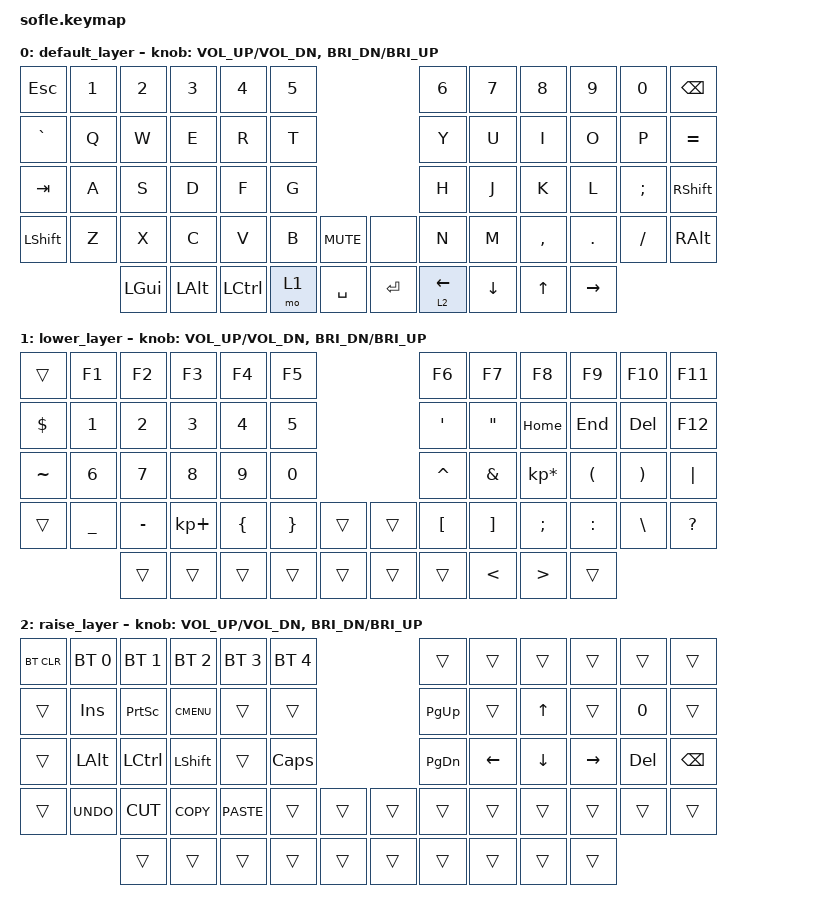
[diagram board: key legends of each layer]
/*
 * Copyright (c) 2020 The ZMK Contributors
 *
 * SPDX-License-Identifier: MIT
 */

#include <behaviors.dtsi>
#include <dt-bindings/zmk/keys.h>
#include <dt-bindings/zmk/bt.h>

&left_encoder { resolution = <2>; };
&right_encoder { resolution = <2>; };

&lt {
    tapping-term-ms = <300>;
};

/ {
    keymap {
        compatible = "zmk,keymap";

        default_layer {
// ------------------------------------------------------------------------------------------------------------
// |  ESC  |  1  |  2  |  3   |  4   |  5   |                   |  6   |  7    |  8    |  9   |   0   | BKSPC |
// |   `   |  Q  |  W  |  E   |  R   |  T   |                   |  Y   |  U    |  I    |  O   |   P   |   =   |
// |  TAB  |  A  |  S  |  D   |  F   |  G   |                   |  H   |  J    |  K    |  L   |   ;   | SHIFT |
// | SHIFT |  Z  |  X  |  C   |  V   |  B   |  MUTE  |  |       |  N   |  M    |  ,    |  .   |   /   |  ALT  |
//               | GUI | ALT  | CTRL | LOWER|  SPACE |  | ENTER |  <- / RAISE |   v   |   ^   |  ->  |
            bindings = <
&kp ESC   &kp N1 &kp N2   &kp N3   &kp N4    &kp N5                      &kp N6      &kp N7    &kp N8    &kp N9   &kp N0   &kp BSPC
&kp GRAVE &kp Q  &kp W    &kp E    &kp R     &kp T                       &kp Y       &kp U     &kp I     &kp O    &kp P    &kp EQUAL
&kp TAB   &kp A  &kp S    &kp D    &kp F     &kp G                       &kp H       &kp J     &kp K     &kp L    &kp SEMI &kp RSHFT
&kp LSHFT &kp Z  &kp X    &kp C    &kp V     &kp B  &kp C_MUTE &none     &kp N       &kp M     &kp COMMA &kp DOT  &kp FSLH &kp RALT
                 &kp LGUI &kp LALT &kp LCTRL &mo 1  &kp SPACE    &kp RET &lt 2 LEFT  &kp DOWN  &kp UP    &kp RIGHT
            >;

            sensor-bindings = <&inc_dec_cp C_VOL_UP C_VOL_DN &inc_dec_cp C_BRI_DN C_BRI_UP>;
            // sensor-bindings = <&inc_dec_kp PG_UP PG_DN &inc_dec_kp LC(LEFT) LC(RIGHT)>;
            
        };

        lower_layer {
// TODO: Some binds are waiting for shifted keycode support.
// ------------------------------------------------------------------------------------------------------------
// |       |  F1 |  F2 |  F3  |  F4  |  F5  |                   |  F6  |  F7   |  F8   |  F9  |  F10  |  F11  |
// |   $   |   1 |   2 |   3  |   4  |   5  |                   |  '   |   "   |  HOME |  END |  DEL  |  F12  |
// |   ~   |  6  |  7  |  8   |  9   |  0   |                   |  ^   |  &    |  *    |  (   |   )   |   |   |
// |       |  _  |  -  |  +   |  {   |  }   |        |  |       |  [   |  ]    |  ;    |  :   |   \   |   ?   |
//               |     |      |      |      |        |  |       |      |   <   |   >   |      |
            bindings = <
&trans    &kp F1    &kp F2    &kp F3      &kp F4    &kp F5                    &kp F6    &kp F7   &kp F8          &kp F9    &kp F10   &kp F11
&kp DLLR &kp N1    &kp N2    &kp N3      &kp N4    &kp N5                    &kp SQT   &kp DQT  &kp HOME        &kp END   &kp DEL   &kp F12
&kp TILDE &kp N6    &kp N7    &kp N8      &kp N9    &kp N0                    &kp CARET &kp AMPS &kp KP_MULTIPLY &kp LPAR  &kp RPAR  &kp PIPE
&trans    &kp UNDER &kp MINUS &kp KP_PLUS &kp LBRC  &kp RBRC  &trans   &trans &kp LBKT  &kp RBKT &kp SEMI        &kp COLON &kp BSLH  &kp QMARK
                    &trans    &trans      &trans    &trans    &trans   &trans &trans    &kp LT   &kp GT          &trans
            >;

            // sensor-bindings = <&inc_dec_kp C_VOL_UP C_VOL_DN &inc_dec_kp PG_UP PG_DN>;
            sensor-bindings = <&inc_dec_cp C_VOL_UP C_VOL_DN &inc_dec_cp C_BRI_DN C_BRI_UP>;
        };

        raise_layer {
// ------------------------------------------------------------------------------------------------------------
// |BTCLR| BT1  | BT2  |  BT3  |  BT4  |  BT5 |                |      |      |       |      |       |       |
// |     | INS  | PSCR | GUI   |       |      |                | PGUP |      |   ^   |      |   %   |       |
// |     | ALT  | CTRL | SHIFT |       | CAPS |                | PGDN |   <- |   v   |  ->  |  DEL  | BKSPC |
// |     | UNDO | CUT  | COPY  | PASTE |      |      |  |      |      |      |       |      |       |       |
//              |      |       |       |      |      |  |      |      |      |       |      |
            bindings = <
&bt BT_CLR &bt BT_SEL 0 &bt BT_SEL 1 &bt BT_SEL 2 &bt BT_SEL 3 &bt BT_SEL 4             &trans    &trans    &trans   &trans    &trans  &trans
&trans     &kp INS      &kp PSCRN    &kp K_CMENU  &trans       &trans                   &kp PG_UP &trans    &kp UP   &trans    &kp N0  &trans
&trans     &kp LALT     &kp LCTRL    &kp LSHFT    &trans       &kp CLCK                 &kp PG_DN &kp LEFT  &kp DOWN &kp RIGHT &kp DEL &kp BSPC
&trans     &kp K_UNDO   &kp K_CUT    &kp K_COPY   &kp K_PASTE  &trans  &trans   &trans  &trans    &trans    &trans   &trans    &trans  &trans
                        &trans       &trans       &trans       &trans  &trans   &trans  &trans    &trans    &trans   &trans
            >;

            // sensor-bindings = <&inc_dec_kp C_VOL_UP C_VOL_DN &inc_dec_kp PG_UP PG_DN>;
            sensor-bindings = <&inc_dec_cp C_VOL_UP C_VOL_DN &inc_dec_cp C_BRI_DN C_BRI_UP>;
        };
    };
};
